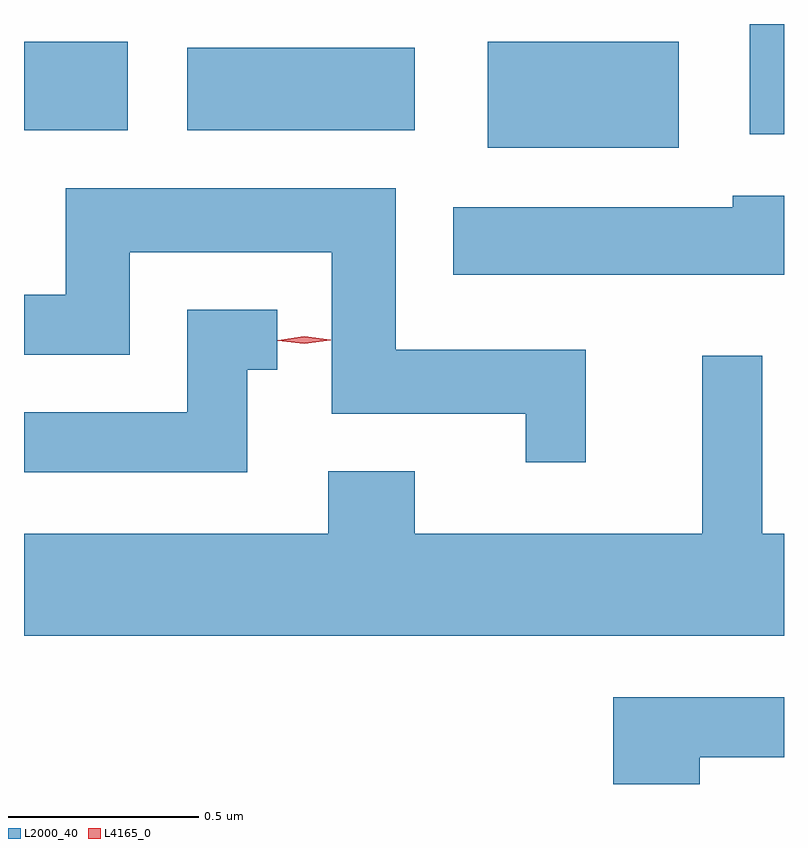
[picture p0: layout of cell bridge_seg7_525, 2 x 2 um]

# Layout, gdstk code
import gdstk
lib = gdstk.Library(unit=1e-6, precision=1e-09)
def R(c, l, rs):  # rectangles x0, y0, x1, y1
    for r in rs: c.add(gdstk.rectangle(r[:2], r[2:], *l))
def P(c, l, *ps):  # polygons
    for p in ps: c.add(gdstk.Polygon(p, *l))
L2000_40 = (2000, 40)
L4165_0 = (4165, 0)

bridge_seg7_525 = lib.new_cell('bridge_seg7_525')
R(bridge_seg7_525, L2000_40, [(1343.121,1733.361,1343.624,1733.639), (1343.811,1733.396,1343.901,1733.686), (1341.901,1733.406,1342.174,1733.639), (1342.331,1733.406,1342.929,1733.624)])
P(bridge_seg7_525, L2000_40, [(1343.379,1732.829),(1342.879,1732.829),(1342.879,1733.254),(1342.011,1733.254),(1342.011,1732.974),(1341.901,1732.974),(1341.901,1732.816),(1342.179,1732.816),(1342.179,1733.086),(1342.711,1733.086),(1342.711,1732.661),(1343.221,1732.661),(1343.221,1732.533),(1343.379,1732.533)],
  [(1343.901,1733.234),(1343.766,1733.234),(1343.766,1733.204),(1343.031,1733.204),(1343.031,1733.026),(1343.901,1733.026)],
  [(1342.489,1732.776),(1342.568,1732.776),(1342.568,1732.934),(1342.331,1732.934),(1342.331,1732.664),(1341.901,1732.664),(1341.901,1732.506),(1342.489,1732.506)],
  [(1343.901,1732.344),(1343.844,1732.344),(1343.844,1732.813),(1343.686,1732.813),(1343.686,1732.344),(1342.929,1732.344),(1342.929,1732.509),(1342.701,1732.509),(1342.701,1732.344),(1341.901,1732.344),(1341.901,1732.076),(1343.901,1732.076)],
  [(1343.679,1731.756),(1343.901,1731.756),(1343.901,1731.914),(1343.451,1731.914),(1343.451,1731.686),(1343.679,1731.686)])
P(bridge_seg7_525, L4165_0, [(1342.638,1732.844),(1342.569,1732.853),(1342.569,1732.854),(1342.569,1732.854),(1342.638,1732.864),(1342.708,1732.855),(1342.708,1732.854),(1342.708,1732.854)])

lib.write_gds('bridge_seg7_525.gds')
